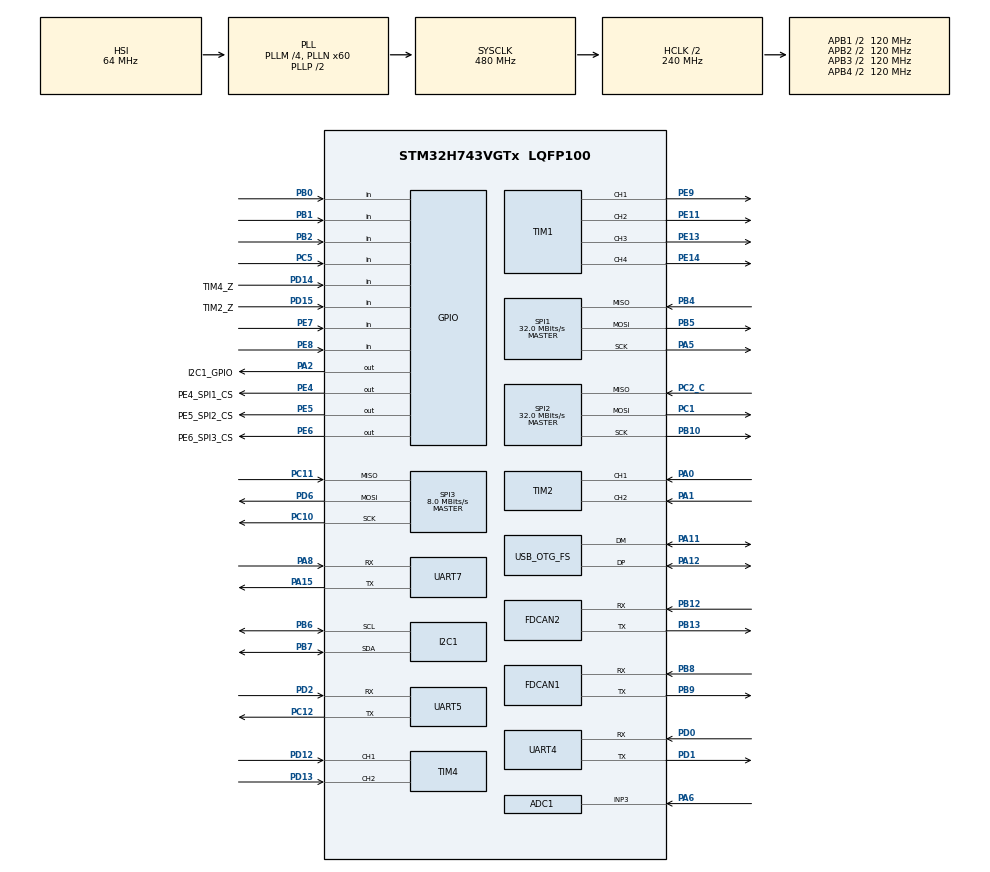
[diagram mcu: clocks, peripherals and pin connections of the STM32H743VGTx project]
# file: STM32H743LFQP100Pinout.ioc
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ADC1.Channel-0\#ChannelRegularConversion=ADC_CHANNEL_3
ADC1.NbrOfConversionFlag=1
ADC1.OffsetNumber-0\#ChannelRegularConversion=ADC_OFFSET_NONE
ADC1.OffsetSignedSaturation-0\#ChannelRegularConversion=DISABLE
ADC1.Rank-0\#ChannelRegularConversion=1
ADC1.SamplingTime-0\#ChannelRegularConversion=ADC_SAMPLETIME_1CYCLE_5
ADC1.master=1
CORTEX_M7.default_mode_Activation=1
FDCAN1.CalculateBaudRateNominal=249999
FDCAN1.CalculateTimeBitNominal=4000
FDCAN1.CalculateTimeQuantumNominal=250.00000000000003
FDCAN1.NominalPrescaler=30
FDCAN1.NominalTimeSeg1=13
FDCAN1.NominalTimeSeg2=2
FDCAN2.CalculateBaudRateNominal=249999
FDCAN2.CalculateTimeBitNominal=4000
FDCAN2.CalculateTimeQuantumNominal=250.00000000000003
FDCAN2.NominalPrescaler=30
FDCAN2.NominalTimeSeg1=13
FDCAN2.NominalTimeSeg2=2
I2C1.Timing=0x307075B1
Mcu.Family=STM32H7
Mcu.Name=STM32H743VGTx
Mcu.Package=LQFP100
NVIC.PriorityGroup=NVIC_PRIORITYGROUP_4
PA0.Signal=S_TIM2_CH1_ETR
PA1.Signal=S_TIM2_CH2
PA11.Mode=Device_Only
PA11.Signal=USB_OTG_FS_DM
PA12.Mode=Device_Only
PA12.Signal=USB_OTG_FS_DP
PA13\ (JTMS/SWDIO).Mode=Trace_Asynchronous_SW
PA13\ (JTMS/SWDIO).Signal=DEBUG_JTMS-SWDIO
PA14\ (JTCK/SWCLK).Mode=Trace_Asynchronous_SW
PA14\ (JTCK/SWCLK).Signal=DEBUG_JTCK-SWCLK
PA15\ (JTDI).Mode=Asynchronous
PA15\ (JTDI).Signal=UART7_TX
PA2.GPIO_Label=I2C1_GPIO
PA2.Signal=GPIO_Output
PA5.Mode=Full_Duplex_Master
PA5.Signal=SPI1_SCK
PA6.Signal=ADCx_INP3
PA8.Mode=Asynchronous
PA8.Signal=UART7_RX
PB0.Signal=GPIO_Input
PB1.Signal=GPIO_Input
PB10.Mode=Full_Duplex_Master
PB10.Signal=SPI2_SCK
PB12.Mode=FDCAN_Activate
PB12.Signal=FDCAN2_RX
PB13.Mode=FDCAN_Activate
PB13.Signal=FDCAN2_TX
PB2.Signal=GPIO_Input
PB3\ (JTDO/TRACESWO).Mode=Trace_Asynchronous_SW
PB3\ (JTDO/TRACESWO).Signal=DEBUG_JTDO-SWO
PB4\ (NJTRST).Mode=Full_Duplex_Master
PB4\ (NJTRST).Signal=SPI1_MISO
PB5.Mode=Full_Duplex_Master
PB5.Signal=SPI1_MOSI
PB6.Mode=I2C
PB6.Signal=I2C1_SCL
PB7.Mode=I2C
PB7.Signal=I2C1_SDA
PB8.Mode=FDCAN_Activate
PB8.Signal=FDCAN1_RX
PB9.Mode=FDCAN_Activate
PB9.Signal=FDCAN1_TX
PC1.Mode=Full_Duplex_Master
PC1.Signal=SPI2_MOSI
PC10.Mode=Full_Duplex_Master
PC10.Signal=SPI3_SCK
PC11.Mode=Full_Duplex_Master
PC11.Signal=SPI3_MISO
PC12.Mode=Asynchronous
PC12.Signal=UART5_TX
PC14-OSC32_IN\ (OSC32_IN).Mode=LSE-External-Oscillator
PC14-OSC32_IN\ (OSC32_IN).Signal=RCC_OSC32_IN
PC15-OSC32_OUT\ (OSC32_OUT).Mode=LSE-External-Oscillator
PC15-OSC32_OUT\ (OSC32_OUT).Signal=RCC_OSC32_OUT
PC2_C.Mode=Full_Duplex_Master
PC2_C.Signal=SPI2_MISO
PC5.PinAttribute=Free
PC5.Signal=GPIO_Input
PD0.Mode=Asynchronous
PD0.Signal=UART4_RX
PD1.Mode=Asynchronous
PD1.Signal=UART4_TX
PD12.Signal=S_TIM4_CH1
PD13.Signal=S_TIM4_CH2
PD14.GPIO_Label=TIM4_Z
PD14.Signal=GPIO_Input
PD15.GPIO_Label=TIM2_Z
PD15.Signal=GPIO_Input
PD2.Mode=Asynchronous
PD2.Signal=UART5_RX
PD6.Mode=Full_Duplex_Master
PD6.Signal=SPI3_MOSI
PE11.Signal=S_TIM1_CH2
PE13.Signal=S_TIM1_CH3
PE14.Signal=S_TIM1_CH4
PE4.GPIO_Label=PE4_SPI1_CS
PE4.Signal=GPIO_Output
PE5.GPIO_Label=PE5_SPI2_CS
PE5.Signal=GPIO_Output
PE6.GPIO_Label=PE6_SPI3_CS
PE6.Signal=GPIO_Output
PE7.Signal=GPIO_Input
PE8.Signal=GPIO_Input
PE9.PinAttribute=Free
PE9.Signal=S_TIM1_CH1
ProjectManager.HeapSize=0x200
ProjectManager.StackSize=0x400
ProjectManager.TargetToolchain=STM32CubeIDE
RCC.ADCCLockSelection=RCC_ADCCLKSOURCE_CLKP
RCC.ADCFreq_Value=64000000
RCC.APB1Freq_Value=120000000
RCC.APB2Freq_Value=120000000
RCC.APB3Freq_Value=120000000
RCC.APB4Freq_Value=120000000
RCC.CortexFreq_Value=480000000
RCC.D1PPRE=RCC_APB3_DIV2
RCC.D2PPRE1=RCC_APB1_DIV2
RCC.D2PPRE2=RCC_APB2_DIV2
RCC.D3PPRE=RCC_APB4_DIV2
RCC.DIVM1=4
RCC.DIVM2=4
RCC.DIVM3=4
RCC.DIVN1=60
RCC.DIVN2=20
RCC.DIVN3=14
RCC.DIVQ1=8
RCC.DIVQ2=3
RCC.DIVQ3=3
RCC.DIVR1=6
RCC.FLatency-AdvancedSettings=FLASH_LATENCY_0
RCC.HCLKFreq_Value=240000000
RCC.HPRE=RCC_HCLK_DIV2
RCC.HSE_VALUE=16000000
RCC.PLL1_VCI_Range-AdvancedSettings=RCC_PLL1VCIRANGE_1
RCC.PLL2FRACN=0
RCC.PLL3FRACN=0
RCC.PLL3_VCI_Range-AdvancedSettings=RCC_PLL3VCIRANGE_0
RCC.PLLFRACN=0
RCC.RNGEnable-ClockTree=true
RCC.SAI23Enable-ClockTree=true
RCC.SPI123CLockSelection=RCC_SPI123CLKSOURCE_CLKP
RCC.SYSCLKFreq_VALUE=480000000
RCC.SYSCLKSource=RCC_SYSCLKSOURCE_PLLCLK
RCC.USBCLockSelection=RCC_USBCLKSOURCE_HSI48
RCC.USBFreq_Value=48000000
SH.ADCx_INP3.0=ADC1_INP3,IN3-Single-Ended
SH.S_TIM1_CH1.0=TIM1_CH1,PWM Generation1 CH1
SH.S_TIM1_CH2.0=TIM1_CH2,PWM Generation2 CH2
SH.S_TIM1_CH3.0=TIM1_CH3,Output Compare3 CH3
SH.S_TIM1_CH4.0=TIM1_CH4,PWM Generation4 CH4
SH.S_TIM2_CH1_ETR.0=TIM2_CH1,Encoder_Interface
SH.S_TIM2_CH2.0=TIM2_CH2,Encoder_Interface
SH.S_TIM4_CH1.0=TIM4_CH1,Encoder_Interface
SH.S_TIM4_CH2.0=TIM4_CH2,Encoder_Interface
SPI1.BaudRatePrescaler=SPI_BAUDRATEPRESCALER_2
SPI1.CalculateBaudRate=32.0 MBits/s
SPI1.Direction=SPI_DIRECTION_2LINES
SPI1.Mode=SPI_MODE_MASTER
SPI1.VirtualType=VM_MASTER
SPI2.BaudRatePrescaler=SPI_BAUDRATEPRESCALER_2
SPI2.CalculateBaudRate=32.0 MBits/s
SPI2.Direction=SPI_DIRECTION_2LINES
SPI2.Mode=SPI_MODE_MASTER
SPI2.VirtualType=VM_MASTER
SPI3.BaudRatePrescaler=SPI_BAUDRATEPRESCALER_8
SPI3.CalculateBaudRate=8.0 MBits/s
SPI3.DataSize=SPI_DATASIZE_8BIT
SPI3.Direction=SPI_DIRECTION_2LINES
SPI3.Mode=SPI_MODE_MASTER
SPI3.VirtualType=VM_MASTER
TIM1.Channel-Output\ Compare3\ CH3=TIM_CHANNEL_3
TIM1.Channel-PWM\ Generation1\ CH1=TIM_CHANNEL_1
TIM1.Channel-PWM\ Generation2\ CH2=TIM_CHANNEL_2
TIM1.Channel-PWM\ Generation4\ CH4=TIM_CHANNEL_4
USB_OTG_FS.VirtualMode=Device_Only
VP_MEMORYMAP_VS_MEMORYMAP.Mode=CurAppReg
VP_TIM1_VS_ClockSourceINT.Mode=Internal
board=custom

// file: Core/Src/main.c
/* USER CODE BEGIN Header */
/**
  ******************************************************************************
  * @file           : main.c
  * @brief          : Main program body
  ******************************************************************************
  * @attention
  *
  * Copyright (c) 2026 STMicroelectronics.
  * All rights reserved.
  *
  * This software is licensed under terms that can be found in the LICENSE file
  * in the root directory of this software component.
  * If no LICENSE file comes with this software, it is provided AS-IS.
  *
  ******************************************************************************
  */
/* USER CODE END Header */
#include "main.h"
#include "adc.h"
#include "fdcan.h"
#include "i2c.h"
#include "spi.h"
#include "tim.h"
#include "usart.h"
#include "usb_otg.h"
#include "gpio.h"

/* USER CODE BEGIN Includes */
#include "icm45686.h"
#include <string.h>

/* USER CODE END Includes */

/* USER CODE BEGIN PD */
#define ODRIVE_CAN_NODE_ID              0u
#define ODRIVE_CAN_CMD_ID_BITS          5u
#define ODRIVE_CMD_SET_AXIS_REQUESTED_STATE 0x07u
#define ODRIVE_CMD_SET_CONTROLLER_MODES     0x0Bu
#define ODRIVE_CMD_SET_INPUT_VEL            0x0Du
#define ODRIVE_CMD_CLEAR_ERRORS             0x18u

#define ODRIVE_AXIS_STATE_CLOSED_LOOP_CONTROL 8
#define ODRIVE_CONTROL_MODE_VELOCITY         2
#define ODRIVE_INPUT_MODE_PASSTHROUGH        1
#define ODRIVE_TARGET_VELOCITY_TURNS_S       0.2f
#define UART_TEST_PERIOD_MS                  1000u
#define UART_RX_STRING_SIZE                  128u
#define UART_RX_MAX_BYTES_PER_POLL           64u

/* USER CODE END PD */

/* USER CODE BEGIN PV */
static icm45686_t g_icm45686;
static uint8_t g_uart4_rx_byte = 0;
static uint8_t g_uart5_rx_byte = 0;

volatile int g_icm45686_init_status = -1;
volatile int g_icm45686_read_status = -1;
volatile uint32_t g_icm45686_sample_count = 0;
volatile uint32_t g_icm45686_error_count = 0;
volatile float g_icm45686_accel_mps2[3];
volatile float g_icm45686_gyro_rads[3];
volatile float g_icm45686_temp_celsius;

volatile int g_odrive_can_start_status = -1;
volatile int g_odrive_init_status = -1;
volatile int g_odrive_velocity_status = -1;
volatile uint32_t g_odrive_velocity_tx_count = 0;
volatile uint32_t g_odrive_velocity_tx_error_count = 0;
volatile float g_odrive_velocity_target_turns_s = ODRIVE_TARGET_VELOCITY_TURNS_S;
volatile uint32_t g_odrive_can_tx_free_level = 0;
volatile uint32_t g_odrive_can_last_error_code = 0;
volatile uint32_t g_odrive_can_bus_off = 0;
volatile uint32_t g_odrive_can_error_passive = 0;
volatile uint32_t g_odrive_can_warning = 0;
volatile uint32_t g_odrive_can_tx_error_count = 0;
volatile uint32_t g_odrive_can_rx_error_count = 0;
volatile int g_odrive1_can_start_status = -1;
volatile int g_odrive1_init_status = -1;
volatile int g_odrive1_velocity_status = -1;
volatile uint32_t g_odrive1_velocity_tx_count = 0;
volatile uint32_t g_odrive1_velocity_tx_error_count = 0;
volatile uint32_t g_odrive1_can_tx_free_level = 0;
volatile uint32_t g_odrive1_can_last_error_code = 0;
volatile uint32_t g_odrive1_can_bus_off = 0;
volatile uint32_t g_odrive1_can_error_passive = 0;
volatile uint32_t g_odrive1_can_warning = 0;
volatile uint32_t g_odrive1_can_tx_error_count = 0;
volatile uint32_t g_odrive1_can_rx_error_count = 0;
volatile int g_odrive2_can_start_status = -1;
volatile int g_odrive2_init_status = -1;
volatile int g_odrive2_velocity_status = -1;
volatile uint32_t g_odrive2_velocity_tx_count = 0;
volatile uint32_t g_odrive2_velocity_tx_error_count = 0;
volatile uint32_t g_odrive2_can_tx_free_level = 0;
volatile uint32_t g_odrive2_can_last_error_code = 0;
volatile uint32_t g_odrive2_can_bus_off = 0;
volatile uint32_t g_odrive2_can_error_passive = 0;
volatile uint32_t g_odrive2_can_warning = 0;
volatile uint32_t g_odrive2_can_tx_error_count = 0;
volatile uint32_t g_odrive2_can_rx_error_count = 0;

volatile int g_encoder1_start_status = -1;
volatile uint32_t g_encoder1_count_raw = 0;
volatile int32_t g_encoder1_delta_steps = 0;
volatile int64_t g_encoder1_total_steps = 0;
volatile uint32_t g_encoder1_z_count = 0;
volatile uint32_t g_encoder1_z_state = 0;
volatile uint32_t g_encoder1_count_at_last_z = 0;

volatile int g_encoder2_start_status = -1;
volatile uint32_t g_encoder2_count_raw = 0;
volatile int32_t g_encoder2_delta_steps = 0;
volatile int64_t g_encoder2_total_steps = 0;
volatile uint32_t g_encoder2_z_count = 0;
volatile uint32_t g_encoder2_z_state = 0;
volatile uint32_t g_encoder2_count_at_last_z = 0;

volatile int g_tim4_encoder_start_status = -1;
volatile uint32_t g_tim4_encoder_count_raw = 0;
volatile int32_t g_tim4_encoder_delta_steps = 0;
volatile int64_t g_tim4_encoder_total_steps = 0;
volatile uint32_t g_tim4_encoder_z_count = 0;
volatile uint32_t g_tim4_encoder_z_state = 0;
volatile uint32_t g_tim4_encoder_count_at_last_z = 0;

volatile int g_uart4_test_status = -1;
volatile int g_uart5_test_status = -1;
volatile uint32_t g_uart4_test_tx_count = 0;
volatile uint32_t g_uart5_test_tx_count = 0;
char g_uart4_rx_string[UART_RX_STRING_SIZE];
char g_uart5_rx_string[UART_RX_STRING_SIZE];
volatile uint32_t g_uart4_rx_length = 0;
volatile uint32_t g_uart5_rx_length = 0;
volatile uint32_t g_uart4_rx_byte_count = 0;
volatile uint32_t g_uart5_rx_byte_count = 0;
volatile uint32_t g_uart4_rx_line_count = 0;
volatile uint32_t g_uart5_rx_line_count = 0;
volatile uint32_t g_uart4_rx_overflow_count = 0;
volatile uint32_t g_uart5_rx_overflow_count = 0;
volatile int g_uart4_rx_status = -1;
volatile int g_uart5_rx_status = -1;
volatile uint32_t g_uart4_rx_hal_error = 0;
volatile uint32_t g_uart5_rx_hal_error = 0;
volatile uint32_t g_uart4_rx_isr = 0;
volatile uint32_t g_uart5_rx_isr = 0;
volatile uint32_t g_uart4_rx_overrun_count = 0;
volatile uint32_t g_uart5_rx_overrun_count = 0;

/* USER CODE END PV */

void SystemClock_Config(void);
void PeriphCommonClock_Config(void);
static void MPU_Config(void);
/* USER CODE BEGIN PFP */
static void ICM45686_Init(void);
static void ICM45686_Poll(void);
static void ODrive_Init(void);
static void ODrive_Poll(void);
static void Encoders_ABZ_Init(void);
static void Encoders_ABZ_Poll(void);
static void UART_Test_Poll(void);
static void UART_Rx_Start(void);

/* USER CODE END PFP */

/* USER CODE BEGIN 0 */
static void ICM45686_Init(void)
{
  g_icm45686_init_status = icm45686_init_spi(&g_icm45686,
                                             &hspi3,
                                             PE6_SPI3_CS_GPIO_Port,
                                             PE6_SPI3_CS_Pin,
                                             ICM45686_ACCEL_16G,
                                             ICM45686_GYRO_2000_DPS);
}

static void ICM45686_Poll(void)
{
  imu_data_t sample;

  if (g_icm45686_init_status != 0)
  {
    ICM45686_Init();
    HAL_Delay(100);
    return;
  }

  g_icm45686_read_status = icm45686_read(&g_icm45686, &sample);
  if (g_icm45686_read_status == 0)
  {
    g_icm45686_accel_mps2[0] = sample.accel_mps2[0];
    g_icm45686_accel_mps2[1] = sample.accel_mps2[1];
    g_icm45686_accel_mps2[2] = sample.accel_mps2[2];
    g_icm45686_gyro_rads[0] = sample.gyro_rads[0];
    g_icm45686_gyro_rads[1] = sample.gyro_rads[1];
    g_icm45686_gyro_rads[2] = sample.gyro_rads[2];
    g_icm45686_temp_celsius = sample.temp_celsius;
    g_icm45686_sample_count++;
  }
  else
  {
    g_icm45686_error_count++;
  }
}

static uint32_t ODrive_StdId(uint32_t node_id, uint32_t command_id)
{
  return ((node_id & 0x3Fu) << ODRIVE_CAN_CMD_ID_BITS) | (command_id & 0x1Fu);
}

typedef struct
{
  FDCAN_HandleTypeDef *hfdcan;
  volatile int *can_start_status;
  volatile int *init_status;
  volatile int *velocity_status;
  volatile uint32_t *velocity_tx_count;
  volatile uint32_t *velocity_tx_error_count;
  volatile uint32_t *can_tx_free_level;
  volatile uint32_t *can_last_error_code;
  volatile uint32_t *can_bus_off;
  volatile uint32_t *can_error_passive;
  volatile uint32_t *can_warning;
  volatile uint32_t *can_tx_error_count;
  volatile uint32_t *can_rx_error_count;
} odrive_bus_t;

static const odrive_bus_t g_odrive_bus1 = {
    &hfdcan1,
    &g_odrive1_can_start_status,
    &g_odrive1_init_status,
    &g_odrive1_velocity_status,
    &g_odrive1_velocity_tx_count,
    &g_odrive1_velocity_tx_error_count,
    &g_odrive1_can_tx_free_level,
    &g_odrive1_can_last_error_code,
    &g_odrive1_can_bus_off,
    &g_odrive1_can_error_passive,
    &g_odrive1_can_warning,
    &g_odrive1_can_tx_error_count,
    &g_odrive1_can_rx_error_count};

static const odrive_bus_t g_odrive_bus2 = {
    &hfdcan2,
    &g_odrive2_can_start_status,
    &g_odrive2_init_status,
    &g_odrive2_velocity_status,
    &g_odrive2_velocity_tx_count,
    &g_odrive2_velocity_tx_error_count,
    &g_odrive2_can_tx_free_level,
    &g_odrive2_can_last_error_code,
    &g_odrive2_can_bus_off,
    &g_odrive2_can_error_passive,
    &g_odrive2_can_warning,
    &g_odrive2_can_tx_error_count,
    &g_odrive2_can_rx_error_count};

static void ODrive_UpdateCanDiagnostics(const odrive_bus_t *bus)
{
  FDCAN_ProtocolStatusTypeDef protocol_status;
  FDCAN_ErrorCountersTypeDef error_counters;

  *bus->can_tx_free_level = HAL_FDCAN_GetTxFifoFreeLevel(bus->hfdcan);
  if (HAL_FDCAN_GetProtocolStatus(bus->hfdcan, &protocol_status) == HAL_OK)
  {
    *bus->can_last_error_code = protocol_status.LastErrorCode;
    *bus->can_bus_off = protocol_status.BusOff;
    *bus->can_error_passive = protocol_status.ErrorPassive;
    *bus->can_warning = protocol_status.Warning;
  }

  if (HAL_FDCAN_GetErrorCounters(bus->hfdcan, &error_counters) == HAL_OK)
  {
    *bus->can_tx_error_count = error_counters.TxErrorCnt;
    *bus->can_rx_error_count = error_counters.RxErrorCnt;
  }
}

static int ODrive_Tx(const odrive_bus_t *bus,
                     uint32_t command_id,
                     const uint8_t *data,
                     uint32_t len,
                     uint32_t timeout_ms)
{
  FDCAN_TxHeaderTypeDef header = {0};
  const uint32_t start = HAL_GetTick();

  header.Identifier = ODrive_StdId(ODRIVE_CAN_NODE_ID, command_id);
  header.IdType = FDCAN_STANDARD_ID;
  header.TxFrameType = FDCAN_DATA_FRAME;
  header.DataLength = FDCAN_DLC_BYTES_8;
  header.ErrorStateIndicator = FDCAN_ESI_ACTIVE;
  header.BitRateSwitch = FDCAN_BRS_OFF;
  header.FDFormat = FDCAN_CLASSIC_CAN;
  header.TxEventFifoControl = FDCAN_NO_TX_EVENTS;
  header.MessageMarker = 0;

  if (len > 8u)
  {
    return -1;
  }

  while (HAL_FDCAN_GetTxFifoFreeLevel(bus->hfdcan) == 0u)
  {
    if ((HAL_GetTick() - start) >= timeout_ms)
    {
      ODrive_UpdateCanDiagnostics(bus);
      return -2;
    }
  }

  if (HAL_FDCAN_AddMessageToTxFifoQ(bus->hfdcan, &header, (uint8_t *)data) != HAL_OK)
  {
    ODrive_UpdateCanDiagnostics(bus);
    return -3;
  }

  while (HAL_FDCAN_GetTxFifoFreeLevel(bus->hfdcan) < bus->hfdcan->Init.TxFifoQueueElmtsNbr)
  {
    if ((HAL_GetTick() - start) >= timeout_ms)
    {
      ODrive_UpdateCanDiagnostics(bus);
      return -4;
    }
  }

  ODrive_UpdateCanDiagnostics(bus);
  return 0;
}

static int ODrive_TxU32(const odrive_bus_t *bus, uint32_t command_id, uint32_t value)
{
  uint8_t data[8] = {0};
  memcpy(data, &value, sizeof(value));
  return ODrive_Tx(bus, command_id, data, sizeof(data), 100u);
}

static int ODrive_TxControllerModes(const odrive_bus_t *bus)
{
  uint8_t data[8] = {0};
  int32_t control_mode = ODRIVE_CONTROL_MODE_VELOCITY;
  int32_t input_mode = ODRIVE_INPUT_MODE_PASSTHROUGH;

  memcpy(data, &control_mode, sizeof(control_mode));
  memcpy(data + 4, &input_mode, sizeof(input_mode));
  return ODrive_Tx(bus, ODRIVE_CMD_SET_CONTROLLER_MODES, data, sizeof(data), 100u);
}

static int ODrive_TxInputVelocity(const odrive_bus_t *bus, float velocity_turns_s, float torque_ff_nm)
{
  uint8_t data[8] = {0};

  memcpy(data, &velocity_turns_s, sizeof(velocity_turns_s));
  memcpy(data + 4, &torque_ff_nm, sizeof(torque_ff_nm));
  return ODrive_Tx(bus, ODRIVE_CMD_SET_INPUT_VEL, data, sizeof(data), 100u);
}

static void ODrive_InitBus(const odrive_bus_t *bus)
{
  uint8_t zeros[8] = {0};

  *bus->can_start_status = (HAL_FDCAN_Start(bus->hfdcan) == HAL_OK) ? 0 : -1;
  if (*bus->can_start_status != 0)
  {
    *bus->init_status = -1;
    return;
  }

  *bus->init_status = ODrive_Tx(bus, ODRIVE_CMD_CLEAR_ERRORS, zeros, sizeof(zeros), 100u);
  if (*bus->init_status != 0)
  {
    return;
  }

  HAL_Delay(50);
  *bus->init_status = ODrive_TxControllerModes(bus);
  if (*bus->init_status != 0)
  {
    return;
  }

  HAL_Delay(50);
  *bus->init_status = ODrive_TxU32(bus,
                                   ODRIVE_CMD_SET_AXIS_REQUESTED_STATE,
                                   ODRIVE_AXIS_STATE_CLOSED_LOOP_CONTROL);
  if (*bus->init_status != 0)
  {
    return;
  }

  HAL_Delay(100);
  *bus->init_status = ODrive_TxInputVelocity(bus, g_odrive_velocity_target_turns_s, 0.0f);
}

static void ODrive_PollBus(const odrive_bus_t *bus)
{
  *bus->velocity_status = ODrive_TxInputVelocity(bus, g_odrive_velocity_target_turns_s, 0.0f);
  if (*bus->velocity_status == 0)
  {
    (*bus->velocity_tx_count)++;
  }
  else
  {
    (*bus->velocity_tx_error_count)++;
  }
}

static int ODrive_CombineStatus(int status1, int status2)
{
  if (status1 == 0 && status2 == 0)
  {
    return 0;
  }
  return (status1 != 0) ? status1 : status2;
}

static void ODrive_UpdateLegacyDebug(void)
{
  g_odrive_can_start_status = ODrive_CombineStatus(g_odrive1_can_start_status,
                                                   g_odrive2_can_start_status);
  g_odrive_init_status = ODrive_CombineStatus(g_odrive1_init_status,
                                              g_odrive2_init_status);
  g_odrive_velocity_status = ODrive_CombineStatus(g_odrive1_velocity_status,
                                                  g_odrive2_velocity_status);
  g_odrive_velocity_tx_count = g_odrive1_velocity_tx_count + g_odrive2_velocity_tx_count;
  g_odrive_velocity_tx_error_count = g_odrive1_velocity_tx_error_count + g_odrive2_velocity_tx_error_count;
  g_odrive_can_tx_free_level = g_odrive1_can_tx_free_level;
  g_odrive_can_last_error_code = g_odrive1_can_last_error_code;
  g_odrive_can_bus_off = g_odrive1_can_bus_off;
  g_odrive_can_error_passive = g_odrive1_can_error_passive;
  g_odrive_can_warning = g_odrive1_can_warning;
  g_odrive_can_tx_error_count = g_odrive1_can_tx_error_count;
  g_odrive_can_rx_error_count = g_odrive1_can_rx_error_count;
}

static void ODrive_Init(void)
{
  ODrive_InitBus(&g_odrive_bus1);
  ODrive_InitBus(&g_odrive_bus2);
  ODrive_UpdateLegacyDebug();
}

static void ODrive_Poll(void)
{
  if (g_odrive1_init_status != 0 || g_odrive2_init_status != 0)
  {
    ODrive_Init();
    HAL_Delay(250);
    return;
  }

  ODrive_PollBus(&g_odrive_bus1);
  ODrive_PollBus(&g_odrive_bus2);
  ODrive_UpdateLegacyDebug();
}

static void Encoder_ABZ_ResetDebug(volatile int *start_status,
                                   volatile uint32_t *count_raw,
                                   volatile int32_t *delta_steps,
                                   volatile int64_t *total_steps,
                                   volatile uint32_t *z_count,
                                   volatile uint32_t *z_state,
                                   volatile uint32_t *count_at_last_z)
{
  *start_status = -1;
  *count_raw = 0u;
  *delta_steps = 0;
  *total_steps = 0;
  *z_count = 0u;
  *z_state = 0u;
  *count_at_last_z = 0u;
}

static void Encoders_ABZ_Init(void)
{
  __HAL_TIM_SET_COUNTER(&htim2, 0u);
  __HAL_TIM_SET_COUNTER(&htim4, 0u);

  Encoder_ABZ_ResetDebug(&g_encoder1_start_status,
                         &g_encoder1_count_raw,
                         &g_encoder1_delta_steps,
                         &g_encoder1_total_steps,
                         &g_encoder1_z_count,
                         &g_encoder1_z_state,
                         &g_encoder1_count_at_last_z);

  Encoder_ABZ_ResetDebug(&g_encoder2_start_status,
                         &g_encoder2_count_raw,
                         &g_encoder2_delta_steps,
                         &g_encoder2_total_steps,
                         &g_encoder2_z_count,
                         &g_encoder2_z_state,
                         &g_encoder2_count_at_last_z);

  Encoder_ABZ_ResetDebug(&g_tim4_encoder_start_status,
                         &g_tim4_encoder_count_raw,
                         &g_tim4_encoder_delta_steps,
                         &g_tim4_encoder_total_steps,
                         &g_tim4_encoder_z_count,
                         &g_tim4_encoder_z_state,
                         &g_tim4_encoder_count_at_last_z);

  g_encoder1_start_status =
      (HAL_TIM_Encoder_Start(&htim2, TIM_CHANNEL_ALL) == HAL_OK) ? 0 : -1;
  g_encoder2_start_status =
      (HAL_TIM_Encoder_Start(&htim4, TIM_CHANNEL_ALL) == HAL_OK) ? 0 : -1;

  g_tim4_encoder_start_status = g_encoder2_start_status;
}

static void Encoder_ABZ_Poll(TIM_HandleTypeDef *htim,
                             GPIO_TypeDef *z_gpio_port,
                             uint16_t z_gpio_pin,
                             uint32_t counter_mask,
                             volatile uint32_t *last_count,
                             volatile uint32_t *last_z_state,
                             volatile uint32_t *count_raw,
                             volatile int32_t *delta_steps,
                             volatile int64_t *total_steps,
                             volatile uint32_t *z_count,
                             volatile uint32_t *z_state,
                             volatile uint32_t *count_at_last_z)
{
  const GPIO_PinState z_pin_state = HAL_GPIO_ReadPin(z_gpio_port, z_gpio_pin);
  const uint32_t now = __HAL_TIM_GET_COUNTER(htim) & counter_mask;
  int32_t delta;

  if (counter_mask == 0xFFFFu)
  {
    delta = (int32_t)(int16_t)(uint16_t)(now - *last_count);
  }
  else
  {
    delta = (int32_t)(now - *last_count);
  }

  *z_state = (z_pin_state == GPIO_PIN_SET) ? 1u : 0u;

  if (z_pin_state == GPIO_PIN_SET && *last_z_state == 0u)
  {
    *total_steps += (int64_t)delta;
    *delta_steps = delta;
    *count_at_last_z = now;
    (*z_count)++;

    __HAL_TIM_SET_COUNTER(htim, 0u);
    *last_count = 0u;
    *count_raw = 0u;
    *last_z_state = 1u;
    return;
  }

  *last_count = now;
  *last_z_state = (z_pin_state == GPIO_PIN_SET) ? 1u : 0u;
  *count_raw = now;
  *delta_steps = delta;
  *total_steps += (int64_t)delta;
}

static void Encoders_ABZ_Poll(void)
{
  static volatile uint32_t s_encoder1_last_count = 0u;
  static volatile uint32_t s_encoder2_last_count = 0u;
  static volatile uint32_t s_encoder1_last_z_state = 0u;
  static volatile uint32_t s_encoder2_last_z_state = 0u;

  Encoder_ABZ_Poll(&htim2,
                   TIM2_Z_GPIO_Port,
                   TIM2_Z_Pin,
                   0xFFFFFFFFu,
                   &s_encoder1_last_count,
                   &s_encoder1_last_z_state,
                   &g_encoder1_count_raw,
                   &g_encoder1_delta_steps,
                   &g_encoder1_total_steps,
                   &g_encoder1_z_count,
                   &g_encoder1_z_state,
                   &g_encoder1_count_at_last_z);

  Encoder_ABZ_Poll(&htim4,
                   TIM4_Z_GPIO_Port,
                   TIM4_Z_Pin,
                   0xFFFFu,
                   &s_encoder2_last_count,
                   &s_encoder2_last_z_state,
                   &g_encoder2_count_raw,
                   &g_encoder2_delta_steps,
                   &g_encoder2_total_steps,
                   &g_encoder2_z_count,
                   &g_encoder2_z_state,
                   &g_encoder2_count_at_last_z);

  g_tim4_encoder_start_status = g_encoder2_start_status;
  g_tim4_encoder_count_raw = g_encoder2_count_raw;
  g_tim4_encoder_delta_steps = g_encoder2_delta_steps;
  g_tim4_encoder_total_steps = g_encoder2_total_steps;
  g_tim4_encoder_z_count = g_encoder2_z_count;
  g_tim4_encoder_z_state = g_encoder2_z_state;
  g_tim4_encoder_count_at_last_z = g_encoder2_count_at_last_z;
}

static void UART_Test_Poll(void)
{
  static uint32_t s_last_tx_ms = 0u;
  static const uint8_t msg[] = "UART OK\r\n";
  const uint32_t now = HAL_GetTick();

  if ((now - s_last_tx_ms) < UART_TEST_PERIOD_MS)
  {
    return;
  }
  s_last_tx_ms = now;

  g_uart4_test_status = (HAL_UART_Transmit(&huart4, (uint8_t *)msg,
                                           (uint16_t)(sizeof(msg) - 1u), 100u) == HAL_OK) ? 0 : -1;
  if (g_uart4_test_status == 0)
  {
    g_uart4_test_tx_count++;
  }

  g_uart5_test_status = (HAL_UART_Transmit(&huart5, (uint8_t *)msg,
                                           (uint16_t)(sizeof(msg) - 1u), 100u) == HAL_OK) ? 0 : -1;
  if (g_uart5_test_status == 0)
  {
    g_uart5_test_tx_count++;
  }
}

static void UART_RxAppendByte(char *buffer,
                              volatile uint32_t *length,
                              volatile uint32_t *line_count,
                              volatile uint32_t *overflow_count,
                              uint8_t byte)
{
  uint32_t len = *length;

  if (byte == '\r' || byte == '\n')
  {
    if (len == 0u)
    {
      return;
    }
    buffer[len] = '\0';
    *length = 0u;
    (*line_count)++;
    return;
  }

  if (len >= (UART_RX_STRING_SIZE - 1u))
  {
    buffer[UART_RX_STRING_SIZE - 1u] = '\0';
    *length = 0u;
    (*overflow_count)++;
    return;
  }

  buffer[len++] = (char)byte;
  buffer[len] = '\0';
  *length = len;
}

static void UART_Rx_Start(void)
{
  g_uart4_rx_status = (HAL_UART_Receive_IT(&huart4, &g_uart4_rx_byte, 1u) == HAL_OK) ? 0 : -1;
  g_uart5_rx_status = (HAL_UART_Receive_IT(&huart5, &g_uart5_rx_byte, 1u) == HAL_OK) ? 0 : -1;
}

void HAL_UART_RxCpltCallback(UART_HandleTypeDef *huart)
{
  if (huart->Instance == UART4)
  {
    UART_RxAppendByte(g_uart4_rx_string,
                      &g_uart4_rx_length,
                      &g_uart4_rx_line_count,
                      &g_uart4_rx_overflow_count,
                      g_uart4_rx_byte);
    g_uart4_rx_byte_count++;
    g_uart4_rx_status = (HAL_UART_Receive_IT(&huart4, &g_uart4_rx_byte, 1u) == HAL_OK) ? 0 : -1;
  }
  else if (huart->Instance == UART5)
  {
    UART_RxAppendByte(g_uart5_rx_string,
                      &g_uart5_rx_length,
                      &g_uart5_rx_line_count,
                      &g_uart5_rx_overflow_count,
                      g_uart5_rx_byte);
    g_uart5_rx_byte_count++;
    g_uart5_rx_status = (HAL_UART_Receive_IT(&huart5, &g_uart5_rx_byte, 1u) == HAL_OK) ? 0 : -1;
  }
}

void HAL_UART_ErrorCallback(UART_HandleTypeDef *huart)
{
  if (huart->Instance == UART4)
  {
    g_uart4_rx_hal_error = huart->ErrorCode;
    g_uart4_rx_isr = huart->Instance->ISR;
    if ((huart->ErrorCode & HAL_UART_ERROR_ORE) != 0u)
    {
      g_uart4_rx_overrun_count++;
    }
    __HAL_UART_CLEAR_OREFLAG(huart);
    __HAL_UART_CLEAR_FEFLAG(huart);
    __HAL_UART_CLEAR_NEFLAG(huart);
    g_uart4_rx_status = (HAL_UART_Receive_IT(&huart4, &g_uart4_rx_byte, 1u) == HAL_OK) ? 0 : -1;
  }
  else if (huart->Instance == UART5)
  {
    g_uart5_rx_hal_error = huart->ErrorCode;
    g_uart5_rx_isr = huart->Instance->ISR;
    if ((huart->ErrorCode & HAL_UART_ERROR_ORE) != 0u)
    {
      g_uart5_rx_overrun_count++;
    }
    __HAL_UART_CLEAR_OREFLAG(huart);
    __HAL_UART_CLEAR_FEFLAG(huart);
    __HAL_UART_CLEAR_NEFLAG(huart);
    g_uart5_rx_status = (HAL_UART_Receive_IT(&huart5, &g_uart5_rx_byte, 1u) == HAL_OK) ? 0 : -1;
  }
}

/* USER CODE END 0 */

int main(void)
{

  /* MPU Configuration--------------------------------------------------------*/
  MPU_Config();

  /* MCU Configuration--------------------------------------------------------*/

  /* Reset of all peripherals, Initializes the Flash interface and the Systick. */
  HAL_Init();

  /* USER CODE BEGIN Init */
 //HAL_Delay(100);
  /* USER CODE END Init */

  /* Configure the system clock */
  SystemClock_Config();

  /* Configure the peripherals common clocks */
  PeriphCommonClock_Config();

  /* Initialize all configured peripherals */
  MX_GPIO_Init();
  MX_ADC1_Init();
  MX_FDCAN1_Init();
  MX_FDCAN2_Init();
  MX_I2C1_Init();
  MX_SPI1_Init();
  MX_SPI2_Init();
  MX_TIM1_Init();
  MX_TIM2_Init();
  MX_TIM4_Init();
  MX_UART4_Init();
  MX_UART5_Init();
  MX_USB_OTG_FS_PCD_Init();
  MX_SPI3_Init();
  MX_UART7_Init();
  /* USER CODE BEGIN 2 */
  Encoders_ABZ_Init();
  ICM45686_Init();
  HAL_Delay(100);
  ODrive_Init();
  //UART_Rx_Start();

  /* USER CODE END 2 */

  /* Infinite loop */
  while (1)
  {

    /* USER CODE BEGIN 3 */
    Encoders_ABZ_Poll();
    ICM45686_Poll();
    ODrive_Poll();
    UART_Test_Poll();
    HAL_Delay(2);
  }
  /* USER CODE END 3 */
}

void SystemClock_Config(void)
{
  RCC_OscInitTypeDef RCC_OscInitStruct = {0};
  RCC_ClkInitTypeDef RCC_ClkInitStruct = {0};

  /** Supply configuration update enable
  */
  HAL_PWREx_ConfigSupply(PWR_LDO_SUPPLY);

  /** Configure the main internal regulator output voltage
  */
  __HAL_PWR_VOLTAGESCALING_CONFIG(PWR_REGULATOR_VOLTAGE_SCALE0);

  while(!__HAL_PWR_GET_FLAG(PWR_FLAG_VOSRDY)) {}

  /** Initializes the RCC Oscillators according to the specified parameters
  * in the RCC_OscInitTypeDef structure.
  */
  RCC_OscInitStruct.OscillatorType = RCC_OSCILLATORTYPE_HSI48|RCC_OSCILLATORTYPE_HSI;
  RCC_OscInitStruct.HSIState = RCC_HSI_DIV1;
  RCC_OscInitStruct.HSICalibrationValue = RCC_HSICALIBRATION_DEFAULT;
  RCC_OscInitStruct.HSI48State = RCC_HSI48_ON;
  RCC_OscInitStruct.PLL.PLLState = RCC_PLL_ON;
  RCC_OscInitStruct.PLL.PLLSource = RCC_PLLSOURCE_HSI;
  RCC_OscInitStruct.PLL.PLLM = 4;
  RCC_OscInitStruct.PLL.PLLN = 60;
  RCC_OscInitStruct.PLL.PLLP = 2;
  RCC_OscInitStruct.PLL.PLLQ = 8;
  RCC_OscInitStruct.PLL.PLLR = 6;
  RCC_OscInitStruct.PLL.PLLRGE = RCC_PLL1VCIRANGE_3;
  RCC_OscInitStruct.PLL.PLLVCOSEL = RCC_PLL1VCOWIDE;
  RCC_OscInitStruct.PLL.PLLFRACN = 0;
  if (HAL_RCC_OscConfig(&RCC_OscInitStruct) != HAL_OK)
  {
    Error_Handler();
  }

  /** Initializes the CPU, AHB and APB buses clocks
  */
  RCC_ClkInitStruct.ClockType = RCC_CLOCKTYPE_HCLK|RCC_CLOCKTYPE_SYSCLK
                              |RCC_CLOCKTYPE_PCLK1|RCC_CLOCKTYPE_PCLK2
                              |RCC_CLOCKTYPE_D3PCLK1|RCC_CLOCKTYPE_D1PCLK1;
  RCC_ClkInitStruct.SYSCLKSource = RCC_SYSCLKSOURCE_PLLCLK;
  RCC_ClkInitStruct.SYSCLKDivider = RCC_SYSCLK_DIV1;
  RCC_ClkInitStruct.AHBCLKDivider = RCC_HCLK_DIV2;
  RCC_ClkInitStruct.APB3CLKDivider = RCC_APB3_DIV2;
  RCC_ClkInitStruct.APB1CLKDivider = RCC_APB1_DIV2;
  RCC_ClkInitStruct.APB2CLKDivider = RCC_APB2_DIV2;
  RCC_ClkInitStruct.APB4CLKDivider = RCC_APB4_DIV2;

  if (HAL_RCC_ClockConfig(&RCC_ClkInitStruct, FLASH_LATENCY_4) != HAL_OK)
  {
    Error_Handler();
  }
}

void PeriphCommonClock_Config(void)
{
  RCC_PeriphCLKInitTypeDef PeriphClkInitStruct = {0};

  /** Initializes the peripherals clock
  */
  PeriphClkInitStruct.PeriphClockSelection = RCC_PERIPHCLK_CKPER;
  PeriphClkInitStruct.CkperClockSelection = RCC_CLKPSOURCE_HSI;
  if (HAL_RCCEx_PeriphCLKConfig(&PeriphClkInitStruct) != HAL_OK)
  {
    Error_Handler();
  }
}

 /* MPU Configuration */

void MPU_Config(void)
{
  MPU_Region_InitTypeDef MPU_InitStruct = {0};

  /* Disables the MPU */
  HAL_MPU_Disable();

  /** Initializes and configures the Region and the memory to be protected
  */
  MPU_InitStruct.Enable = MPU_REGION_ENABLE;
  MPU_InitStruct.Number = MPU_REGION_NUMBER0;
  MPU_InitStruct.BaseAddress = 0x0;
  MPU_InitStruct.Size = MPU_REGION_SIZE_4GB;
  MPU_InitStruct.SubRegionDisable = 0x87;
  MPU_InitStruct.TypeExtField = MPU_TEX_LEVEL0;
  MPU_InitStruct.AccessPermission = MPU_REGION_NO_ACCESS;
  MPU_InitStruct.DisableExec = MPU_INSTRUCTION_ACCESS_DISABLE;
  MPU_InitStruct.IsShareable = MPU_ACCESS_SHAREABLE;
  MPU_InitStruct.IsCacheable = MPU_ACCESS_NOT_CACHEABLE;
  MPU_InitStruct.IsBufferable = MPU_ACCESS_NOT_BUFFERABLE;

  HAL_MPU_ConfigRegion(&MPU_InitStruct);
  /* Enables the MPU */
  HAL_MPU_Enable(MPU_PRIVILEGED_DEFAULT);

}

void Error_Handler(void)
{
  __disable_irq();
  while (1)
  {
  }
}
